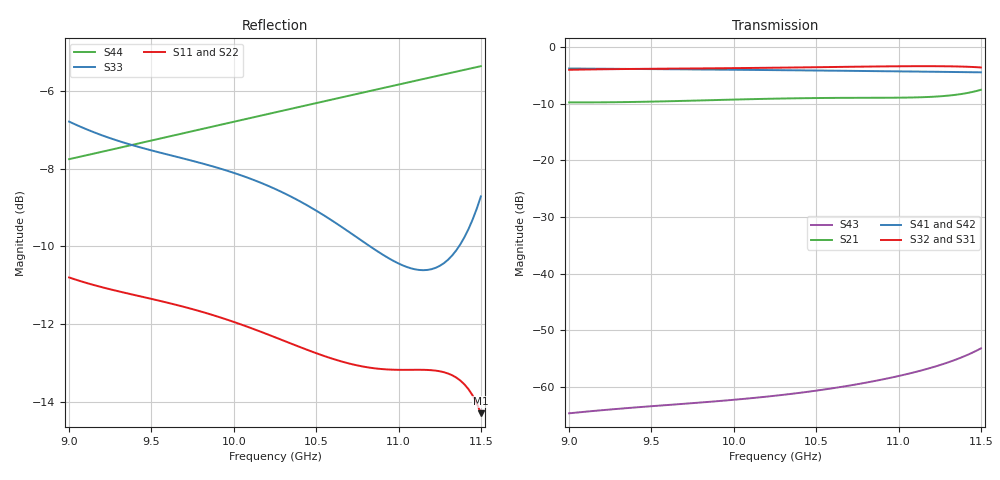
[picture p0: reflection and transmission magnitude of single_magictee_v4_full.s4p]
! Generated from PyAEDT SolutionData; AEDT ExportNetworkData workaround
# GHz S MA R 50
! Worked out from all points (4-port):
!   101 points, 9 GHz to 11.5 GHz, reference 50 ohm
!   strongest paths, dB at 9 GHz, 9.625 GHz, 10.25 GHz, 10.88 GHz, 11.5 GHz:
!     S32: -4.0, -3.8, -3.7, -3.4, -3.6
!     S31: -4.0, -3.8, -3.7, -3.5, -3.7
!     S41: -3.8, -3.9, -4.1, -4.3, -4.5
!     S42: -3.8, -4.0, -4.1, -4.3, -4.5
!     S21: -9.8, -9.6, -9.1, -9.0, -7.6
!     S43: -64.6, -63.1, -61.5, -58.8, -53.2
!   lowest |S11| = -14.3 dB at 11.5 GHz (marker M1), VSWR 1.48, Z = 50.7 + j19.8 ohm
!   |S11| at or under -10 dB: start of sweep to end of sweep
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9  0.2884 -15.3  0.3246 -99.0  0.6281 -29.4  0.6457 45.6
   0.3246 -99.0  0.2888 -15.5  0.6292 -29.4  0.6444 -134.5
   0.6281 -29.4  0.6292 -29.4  0.4578 -178.6  0.0005877 -45.4
   0.6457 45.6  0.6444 -134.5  0.0005877 -45.4  0.4096 -125.4
9.4  0.2737 -61.9  0.3277 -152.2  0.6391 -100.1  0.6398 0.4
     0.3277 -152.2  0.274 -62.1  0.6404 -100.2  0.6383 -179.6
     0.6391 -100.1  0.6404 -100.2  0.426 92.0  0.0006616 -113.8
     0.6398 0.4  0.6383 -179.6  0.0006616 -113.8  0.4281 -167.2
9.825  0.2597 -109.7  0.3385 153.9  0.6462 -172.4  0.6328 -45.9
       0.3385 153.9  0.26 -109.9  0.6478 -172.5  0.6311 134.1
       0.6462 -172.4  0.6478 -172.5  0.4035 1.5  0.0007369 177.1
       0.6328 -45.9  0.6311 134.1  0.0007369 177.1  0.4488 149.5
10.15  0.2461 -144.5  0.3477 113.6  0.6523 133.6  0.6269 -80.4
       0.3477 113.6  0.2462 -144.8  0.6541 133.5  0.6249 99.6
       0.6523 133.6  0.6541 133.5  0.3829 -65.5  0.0008108 126.8
       0.6269 -80.4  0.6249 99.6  0.0008108 126.8  0.4652 116.8
10.45  0.2325 -174.5  0.3538 76.9  0.6596 84.0  0.6211 -111.7
       0.3538 76.9  0.2325 -174.8  0.6616 83.9  0.6188 68.3
       0.6596 84.0  0.6616 83.9  0.3567 -127.3  0.0009103 81.7
       0.6211 -111.7  0.6188 68.3  0.0009103 81.7  0.4809 87.0
10.975  0.2193 137.8  0.357 15.1  0.6726 -4.3  0.6099 -165.5
        0.357 15.1  0.2193 137.4  0.6754 -4.4  0.6069 14.4
        0.6726 -4.3  0.6754 -4.4  0.3024 118.4  0.00123 4.3
        0.6099 -165.5  0.6069 14.4  0.00123 4.3  0.5095 35.1
11.5  0.1928 77.0  0.419 -42.3  0.6558 -103.2  0.5977 141.3
      0.419 -42.3  0.1935 76.2  0.6598 -103.2  0.593 -38.6
      0.6558 -103.2  0.6598 -103.2  0.3668 -11.5  0.002196 -74.5
      0.5977 141.3  0.593 -38.6  0.002196 -74.5  0.5396 -16.7
